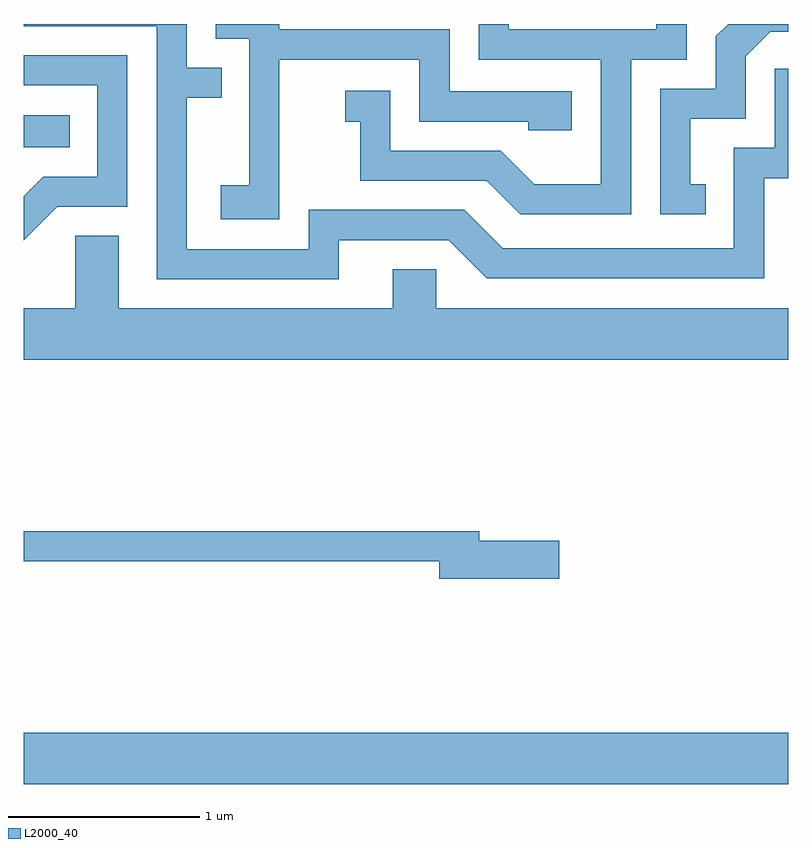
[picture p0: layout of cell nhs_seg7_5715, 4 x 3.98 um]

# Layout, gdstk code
import gdstk
lib = gdstk.Library(unit=1e-6, precision=1e-09)
def R(c, l, rs):  # rectangles x0, y0, x1, y1
    for r in rs: c.add(gdstk.rectangle(r[:2], r[2:], *l))
def P(c, l, *ps):  # polygons
    for p in ps: c.add(gdstk.Polygon(p, *l))
L2000_40 = (2000, 40)

nhs_seg7_5715 = lib.new_cell('nhs_seg7_5715')
R(nhs_seg7_5715, L2000_40, [(359.611,1754.276,363.611,1754.544), (359.611,1757.606,359.853,1757.774)])
P(nhs_seg7_5715, L2000_40, [(361.259,1757.121),(361.834,1757.121),(362.034,1756.921),(363.484,1756.921),(363.484,1757.446),(363.611,1757.446),(363.611,1758.019),(363.541,1758.019),(363.541,1757.604),(363.326,1757.604),(363.326,1757.079),(362.117,1757.079),(361.917,1757.279),(361.101,1757.279),(361.101,1757.074),(360.464,1757.074),(360.464,1757.866),(360.648,1757.866),(360.648,1758.024),(360.464,1758.024),(360.464,1758.252),(359.611,1758.252),(359.611,1758.241),(360.306,1758.241),(360.306,1756.916),(361.259,1756.916)],
  [(360.949,1758.066),(361.681,1758.066),(361.681,1757.741),(362.251,1757.741),(362.251,1757.696),(362.479,1757.696),(362.479,1757.899),(361.839,1757.899),(361.839,1758.224),(360.949,1758.224),(360.949,1758.252),(360.616,1758.252),(360.616,1758.176),(360.791,1758.176),(360.791,1757.409),(360.641,1757.409),(360.641,1757.231),(360.949,1757.231)],
  [(362.789,1758.066),(363.079,1758.066),(363.079,1758.252),(362.921,1758.252),(362.921,1758.224),(362.149,1758.224),(362.149,1758.252),(361.991,1758.252),(361.991,1758.066),(362.631,1758.066),(362.631,1757.414),(362.282,1757.414),(362.107,1757.589),(361.529,1757.589),(361.529,1757.904),(361.293,1757.904),(361.293,1757.741),(361.371,1757.741),(361.371,1757.431),(362.034,1757.431),(362.209,1757.256),(362.789,1757.256)],
  [(363.178,1757.414),(363.099,1757.414),(363.099,1757.756),(363.389,1757.756),(363.389,1758.084),(363.517,1758.211),(363.611,1758.211),(363.611,1758.252),(363.296,1758.252),(363.231,1758.187),(363.231,1757.914),(362.941,1757.914),(362.941,1757.256),(363.178,1757.256)],
  [(359.787,1757.296),(360.154,1757.296),(360.154,1758.089),(359.611,1758.089),(359.611,1757.931),(359.996,1757.931),(359.996,1757.454),(359.714,1757.454),(359.611,1757.351),(359.611,1757.12)],
  [(363.611,1756.764),(361.769,1756.764),(361.769,1756.969),(361.541,1756.969),(361.541,1756.764),(360.109,1756.764),(360.109,1757.144),(359.881,1757.144),(359.881,1756.764),(359.611,1756.764),(359.611,1756.496),(363.611,1756.496)],
  [(362.414,1755.549),(361.994,1755.549),(361.994,1755.599),(359.611,1755.599),(359.611,1755.441),(361.786,1755.441),(361.786,1755.351),(362.414,1755.351)])

lib.write_gds('nhs_seg7_5715.gds')
